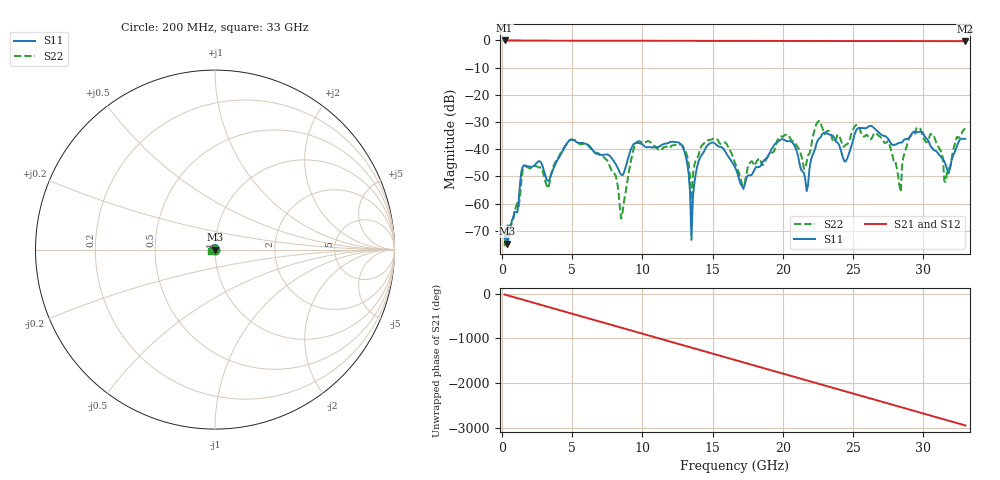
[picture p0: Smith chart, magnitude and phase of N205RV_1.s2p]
# GHZ S RI R 50
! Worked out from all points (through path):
!   329 points, 200 MHz to 33 GHz, reference 50 ohm
!   highest |S21| = -0.02 dB at 200 MHz (marker M1); lowest = -0.3 dB at 33 GHz (marker M2)
!   group delay of S21, straight-line fit = 248 ps
!   lowest |S11| = -74.7 dB at 400 MHz (marker M3), VSWR 1.00, Z = 50 + j0.00712 ohm
!   |S11| at or under -10 dB: start of sweep to end of sweep
!   |S22| runs from -75.7 to -29.6 dB; largest |S21 - S12| = 0.0019
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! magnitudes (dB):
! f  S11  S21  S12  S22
! 200 MHz  -72.9  0.0  0.0  -75.7
! 400 MHz  -74.7  0.0  0.0  -68.1
! 1.5 GHz  -46.4  -0.1  -0.1  -47.4
! 5.7 GHz  -37.7  -0.1  -0.1  -38.2
! 8.1 GHz  -45.3  -0.1  -0.1  -49.5
! 8.5 GHz  -49.4  -0.1  -0.1  -65.5
! 9.5 GHz  -37.8  -0.1  -0.1  -38.2
! 11.2 GHz  -39.1  -0.1  -0.1  -40.4
! 13 GHz  -40.8  -0.2  -0.2  -40.0
! 13.3 GHz  -49.1  -0.2  -0.2  -45.0
! 13.5 GHz  -73.4  -0.2  -0.2  -64.6
! 13.8 GHz  -49.3  -0.2  -0.2  -44.2
! 14.6 GHz  -38.8  -0.2  -0.2  -37.2
! 16.6 GHz  -46.6  -0.2  -0.2  -45.0
! 20.6 GHz  -37.2  -0.2  -0.2  -36.7
! 21.7 GHz  -55.5  -0.2  -0.2  -44.6
! 22.1 GHz  -42.5  -0.2  -0.2  -36.4
! 27.6 GHz  -37.0  -0.2  -0.2  -38.3
! 28.4 GHz  -37.6  -0.2  -0.2  -55.7
! 29.6 GHz  -33.8  -0.2  -0.2  -32.0
! 31.6 GHz  -45.8  -0.3  -0.3  -52.1
! 33 GHz  -36.2  -0.3  -0.3  -32.5
